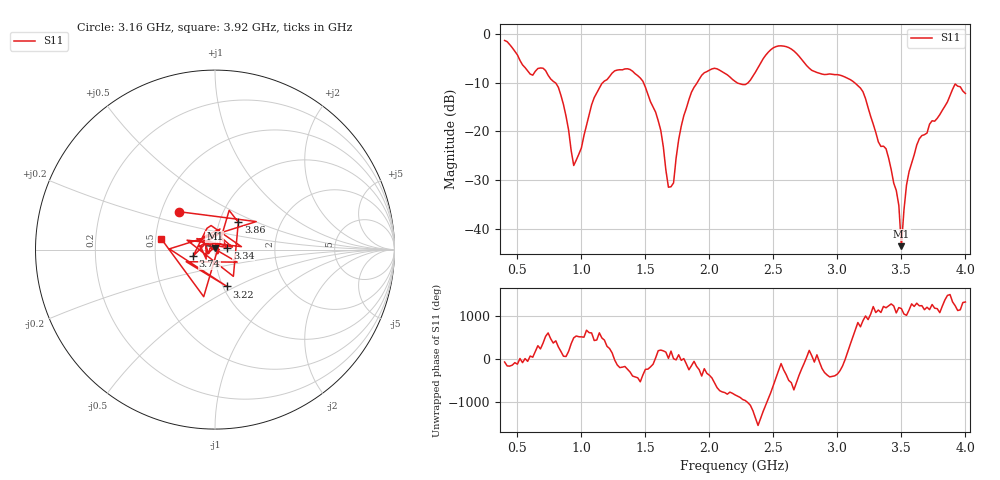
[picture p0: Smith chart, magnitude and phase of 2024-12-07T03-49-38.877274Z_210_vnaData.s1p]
!Created with skrf (http://scikit-rf.org).
# Hz S RI R 50.0
!freq ReS11 ImS11
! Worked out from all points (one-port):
!   181 points, 400 MHz to 4 GHz, reference 50 ohm
!   lowest |S11| = -43.6 dB at 3.5 GHz (marker M1), VSWR 1.01, Z = 49.9 + j0.647 ohm
!   |S11| at or under -10 dB: 794 MHz to 1.168 GHz (373.7 MHz wide, 38.1 % of centre); 1.485 GHz to 1.905 GHz (420.7 MHz wide, 24.8 % of centre); 3.133 GHz to end of sweep (the widest 3 of 4)
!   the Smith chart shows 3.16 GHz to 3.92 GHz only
!   S11 on the Smith chart (normalised r, x): 3.16 GHz: 0.61, +0.28; 3.22 GHz: 1.04, -0.45; 3.34 GHz: 1.15, +0.03; 3.74 GHz: 0.78, -0.06; 3.86 GHz: 1.23, +0.39; 3.92 GHz: 0.54, +0.07
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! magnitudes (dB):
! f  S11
! 400 MHz  -1.4
! 600 MHz  -8.3
! 720 MHz  -7.5
! 860 MHz  -14.5
! 940 MHz  -27.0
! 1.1 GHz  -13.1
! 1.3 GHz  -7.4
! 1.5 GHz  -11.0
! 1.62 GHz  -19.8
! 1.68 GHz  -31.5
! 1.72 GHz  -30.6
! 1.76 GHz  -21.7
! 1.94 GHz  -8.5
! 2.2 GHz  -9.8
! 2.3 GHz  -10.1
! 2.5 GHz  -2.9
! 2.66 GHz  -3.5
! 3.1 GHz  -9.4
! 3.16 GHz  -10.7
! 3.22 GHz  -13.3
! 3.34 GHz  -23.1
! 3.46 GHz  -32.1
! 3.5 GHz  -43.6
! 3.56 GHz  -28.3
! 3.74 GHz  -17.9
! 3.86 GHz  -14.0
! 3.92 GHz  -10.3
! 4 GHz  -12.2
